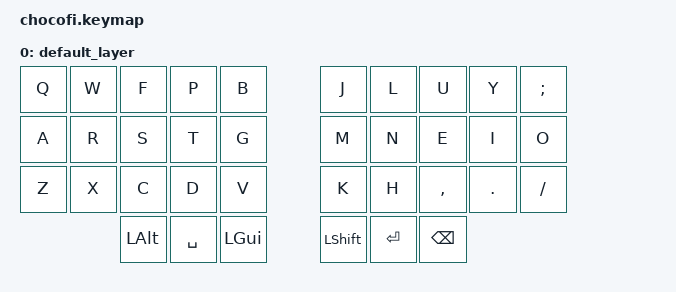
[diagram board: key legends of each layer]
/*
 * Copyright (c) 2023 The ZMK Contributors
 *
 * SPDX-License-Identifier: MIT
 */

#include <behaviors.dtsi>
#include <dt-bindings/zmk/keys.h>

/ {
    keymap {
        compatible = "zmk,keymap";

        default_layer {
            bindings = <
                &kp Q &kp W &kp F &kp P &kp B     &kp J &kp L &kp U &kp Y &kp SEMI
                &kp A &kp R &kp S &kp T &kp G     &kp M &kp N &kp E &kp I &kp O
                &kp Z &kp X &kp C &kp D &kp V     &kp K &kp H &kp COMMA &kp DOT &kp FSLH
                     &kp LALT &kp SPC &kp LGUI   &kp LSHFT &kp RET &kp BSPC
            >;
        };
    };
};
